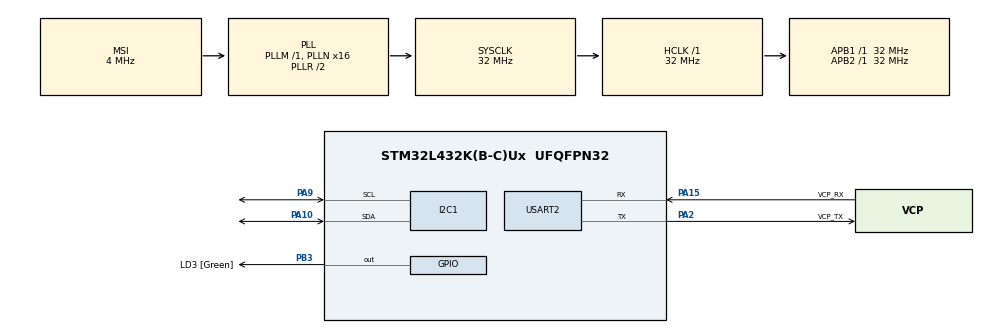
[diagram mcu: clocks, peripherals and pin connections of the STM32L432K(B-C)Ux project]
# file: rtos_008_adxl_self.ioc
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FREERTOS.Queues01=command_queue,16,uint8_t,0,Dynamic,NULL,NULL
FREERTOS.Tasks01=defaultTask,24,128,StartDefaultTask,Default,NULL,Dynamic,NULL,NULL
FREERTOS.configTOTAL_HEAP_SIZE=5120
FREERTOS.configUSE_NEWLIB_REENTRANT=1
I2C1.Timing=0x00707CBB
Mcu.Family=STM32L4
Mcu.Name=STM32L432K(B-C)Ux
Mcu.Package=UFQFPN32
NVIC.PriorityGroup=NVIC_PRIORITYGROUP_4
NVIC.TIM6_DAC_IRQn=true\:15\:0\:false\:false\:true\:false\:false\:true\:true
NVIC.TimeBase=TIM6_DAC_IRQn
NVIC.TimeBaseIP=TIM6
NVIC.USART2_IRQn=true\:6\:0\:true\:false\:true\:true\:true\:true\:true
PA10.Mode=I2C
PA10.Signal=I2C1_SDA
PA13\ (JTMS-SWDIO).GPIO_Label=SWDIO
PA13\ (JTMS-SWDIO).Mode=Serial_Wire
PA13\ (JTMS-SWDIO).Signal=SYS_JTMS-SWDIO
PA14\ (JTCK-SWCLK).GPIO_Label=SWCLK
PA14\ (JTCK-SWCLK).Mode=Serial_Wire
PA14\ (JTCK-SWCLK).Signal=SYS_JTCK-SWCLK
PA15\ (JTDI).GPIO_Label=VCP_RX
PA15\ (JTDI).Mode=Asynchronous
PA15\ (JTDI).Signal=USART2_RX
PA2.GPIO_Label=VCP_TX
PA2.Mode=Asynchronous
PA2.Signal=USART2_TX
PA9.Mode=I2C
PA9.Signal=I2C1_SCL
PB3\ (JTDO-TRACESWO).GPIO_Label=LD3 [Green]
PB3\ (JTDO-TRACESWO).Signal=GPIO_Output
ProjectManager.HeapSize=0x200
ProjectManager.StackSize=0x400
ProjectManager.TargetToolchain=STM32CubeIDE
RCC.AHBFreq_Value=32000000
RCC.APB1Freq_Value=32000000
RCC.APB1TimFreq_Value=32000000
RCC.APB2Freq_Value=32000000
RCC.APB2TimFreq_Value=32000000
RCC.CortexFreq_Value=32000000
RCC.HCLKFreq_Value=32000000
RCC.HSE_VALUE=8000000
RCC.HSI16_VALUE=16000000
RCC.HSI48_VALUE=48000000
RCC.HSI_VALUE=16000000
RCC.LSE_VALUE=32768
RCC.MSI_VALUE=4000000
RCC.PLLMUL=RCC_PLLMUL_4
RCC.PLLN=16
RCC.SYSCLKFreq_VALUE=32000000
RCC.SYSCLKSource=RCC_SYSCLKSOURCE_PLLCLK
RCC.VCOOutputFreq_Value=64000000
USART2.VirtualMode-Asynchronous=VM_ASYNC
VP_FREERTOS_VS_CMSIS_V2.Mode=CMSIS_V2
VP_SYS_VS_tim6.Mode=TIM6
board=NUCLEO-L432KC

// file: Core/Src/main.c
/* USER CODE BEGIN Header */
/**
  ******************************************************************************
  * @file           : main.c
  * @brief          : Main program body
  ******************************************************************************
  * @attention
  *
  * Copyright (c) 2025 STMicroelectronics.
  * All rights reserved.
  *
  * This software is licensed under terms that can be found in the LICENSE file
  * in the root directory of this software component.
  * If no LICENSE file comes with this software, it is provided AS-IS.
  *
  ******************************************************************************
  */
/* USER CODE END Header */
#include "main.h"
#include "cmsis_os.h"

/* USER CODE BEGIN Includes */
#include"adxl345_driver.h"
#include"stdbool.h"
#include"string.h"
#include"stdio.h"
/* USER CODE END Includes */

/* USER CODE BEGIN PTD */
 static volatile bool gStopflag=1;
/* USER CODE END PTD */

I2C_HandleTypeDef hi2c1;

UART_HandleTypeDef huart2;

/* Definitions for defaultTask */
osThreadId_t defaultTaskHandle;
const osThreadAttr_t defaultTask_attributes = {
  .name = "defaultTask",
  .stack_size = 128 * 4,
  .priority = (osPriority_t) osPriorityNormal,
};
/* Definitions for command_queue */
osMessageQueueId_t command_queueHandle;
const osMessageQueueAttr_t command_queue_attributes = {
  .name = "command_queue"
};

void SystemClock_Config(void);
static void MX_GPIO_Init(void);
static void MX_USART2_UART_Init(void);
static void MX_I2C1_Init(void);
void StartDefaultTask(void *argument);

/* USER CODE BEGIN PFP */
void command_task(void* para);
void sensor_task(void* para);

uint8_t isrBuff[40]={0};
volatile uint8_t gRxData = 0;
static volatile uint8_t gRxBuffer[15];

TaskHandle_t command_task_handle;
TaskHandle_t sensor_task_handle;
/* USER CODE END PFP */

/* USER CODE BEGIN 0 */
#ifdef __GNUC__
/* With GCC/RAISONANCE, small printf (option LD Linker->Libraries->Small printf
   set to 'Yes') calls __io_putchar() */
#define PUTCHAR_PROTOTYPE int __io_putchar(int ch)
#else
#define PUTCHAR_PROTOTYPE int fputc(int ch, FILE *f)
#endif /* _GNUC_ */

PUTCHAR_PROTOTYPE {
  /* Place your implementation of fputc here */
  /* e.g. write a character to the USART2 and Loop until the end of transmission */
  HAL_UART_Transmit(&huart2, (uint8_t *)&ch, 1, 0xFFFF);
  return ch;
}

static void notifyCommandTask(void)
{
	BaseType_t pxHigherPriorityTaskWoken = pdFAIL;
	xTaskNotifyFromISR(command_task_handle, 0, eNoAction, &pxHigherPriorityTaskWoken);
	portYIELD_FROM_ISR(pxHigherPriorityTaskWoken);  // requesting context switching manually
}

uint8_t enqueueDataFromIsr() {
  osStatus_t status = 0;
  status = osMessageQueuePut(command_queueHandle, (void *)&gRxData, 1, 0);
  if (status == osOK) {
    return 1;
  }
  return 0;
}

void HAL_UART_RxCpltCallback(UART_HandleTypeDef *huart) {
  UNUSED(huart);
  static int index=0;
  if(osMessageQueueGetSpace(command_queueHandle)!=0)
  {
	  if(index==0 && gRxData =='\n' )
	  {

	  }
	  else
	  {
		  enqueueDataFromIsr();
		  isrBuff[index]=gRxData;// for test
		  index++;// for test
	  }

  }
  else
  {
	  if(gRxData=='\n')
	  {
		    isrBuff[index]=gRxData;// for test

		  index=0;
		  uint8_t dummydata = 0;
		  osMessageQueueGet(command_queueHandle, (void *)&dummydata, NULL, 0);   // deleting last data
		  enqueueDataFromIsr();
	  }
  }
  if(gRxData=='\n')
  {
	  index=0;//test
	  isrBuff[index]=gRxData;// for test
	  enqueueDataFromIsr();// this is not required
	  memset(&isrBuff,0,sizeof(isrBuff));// test
	  notifyCommandTask();
  }
  HAL_UART_Receive_IT(&huart2, &gRxData,1);
}
/* USER CODE END 0 */

int main(void)
{
  /* USER CODE BEGIN 1 */
	BaseType_t status;
  /* USER CODE END 1 */

  /* MCU Configuration--------------------------------------------------------*/

  /* Reset of all peripherals, Initializes the Flash interface and the Systick. */
  HAL_Init();

  /* Configure the system clock */
  SystemClock_Config();

  /* Initialize all configured peripherals */
  MX_GPIO_Init();
  MX_USART2_UART_Init();
  MX_I2C1_Init();
  /* USER CODE BEGIN 2 */
  bool status1 =adxl_app_StreamModeInit();
	adxl_app_calculate_offsets();
	if (status1)
		while (1)
			;

	  printf("stream mode init successful \r\n");

  /* USER CODE END 2 */

  /* Init scheduler */
//  osKernelInitialize();

  /* Create the queue(s) */
  /* creation of command_queue */
  command_queueHandle = osMessageQueueNew (16, sizeof(uint8_t), &command_queue_attributes);

  /* Create the thread(s) */
  /* creation of defaultTask */
//  defaultTaskHandle = osThreadNew(StartDefaultTask, NULL, &defaultTask_attributes);

  /* USER CODE BEGIN RTOS_THREADS */
  /* add threads, ... */
  status=xTaskCreate(command_task, "command", 200, NULL,1,&command_task_handle);
  configASSERT(status==pdPASS);
  status=xTaskCreate(sensor_task, "sensor", 200, NULL,1,&sensor_task_handle);
  configASSERT(status==pdPASS);

  printf("Task creation complete successful \r\n");
  HAL_UART_Receive_IT(&huart2, &gRxData, 1);
  vTaskStartScheduler();

  /* USER CODE END RTOS_THREADS */

  /* Start scheduler */
//  osKernelStart();
  /* We should never get here as control is now taken by the scheduler */
  /* Infinite loop */
  /* USER CODE BEGIN WHILE */

  /* USER CODE END 2 */

  /* Init scheduler */
//  osKernelInitialize();

  /* USER CODE BEGIN RTOS_MUTEX */
  /* add mutexes, ... */
  /* USER CODE END RTOS_MUTEX */

  /* USER CODE BEGIN RTOS_SEMAPHORES */
  /* add semaphores, ... */
  /* USER CODE END RTOS_SEMAPHORES */

  /* USER CODE BEGIN RTOS_TIMERS */
  /* start timers, add new ones, ... */
  /* USER CODE END RTOS_TIMERS */

  /* Create the queue(s) */
  /* creation of command_queue */
  command_queueHandle = osMessageQueueNew (16, sizeof(uint8_t), &command_queue_attributes);

  /* USER CODE BEGIN RTOS_QUEUES */
  /* add queues, ... */
  /* USER CODE END RTOS_QUEUES */

  /* Create the thread(s) */
  /* creation of defaultTask */
//  defaultTaskHandle = osThreadNew(StartDefaultTask, NULL, &defaultTask_attributes);

  /* USER CODE BEGIN RTOS_THREADS */
  /* add threads, ... */
  status=xTaskCreate(command_task, "command", 200, NULL,1,&command_task_handle);
  configASSERT(status==pdPASS);
  status=xTaskCreate(sensor_task, "sensor", 200, NULL,1,&sensor_task_handle);
  configASSERT(status==pdPASS);

  printf("Task creation complete successful \r\n");
  vTaskStartScheduler();

  /* USER CODE END RTOS_THREADS */

  /* USER CODE BEGIN RTOS_EVENTS */
  /* add events, ... */
  /* USER CODE END RTOS_EVENTS */

  /* Start scheduler */
//  osKernelStart();
  /* We should never get here as control is now taken by the scheduler */
  /* Infinite loop */
  /* USER CODE BEGIN WHILE */
  while (1)
  {
    /* USER CODE END WHILE */

  }
}

void SystemClock_Config(void)
{
  RCC_OscInitTypeDef RCC_OscInitStruct = {0};
  RCC_ClkInitTypeDef RCC_ClkInitStruct = {0};

  /** Configure the main internal regulator output voltage
  */
  if (HAL_PWREx_ControlVoltageScaling(PWR_REGULATOR_VOLTAGE_SCALE1) != HAL_OK)
  {
    Error_Handler();
  }

  /** Initializes the RCC Oscillators according to the specified parameters
  * in the RCC_OscInitTypeDef structure.
  */
  RCC_OscInitStruct.OscillatorType = RCC_OSCILLATORTYPE_MSI;
  RCC_OscInitStruct.MSIState = RCC_MSI_ON;
  RCC_OscInitStruct.MSICalibrationValue = 0;
  RCC_OscInitStruct.MSIClockRange = RCC_MSIRANGE_6;
  RCC_OscInitStruct.PLL.PLLState = RCC_PLL_ON;
  RCC_OscInitStruct.PLL.PLLSource = RCC_PLLSOURCE_MSI;
  RCC_OscInitStruct.PLL.PLLM = 1;
  RCC_OscInitStruct.PLL.PLLN = 16;
  RCC_OscInitStruct.PLL.PLLP = RCC_PLLP_DIV7;
  RCC_OscInitStruct.PLL.PLLQ = RCC_PLLQ_DIV2;
  RCC_OscInitStruct.PLL.PLLR = RCC_PLLR_DIV2;
  if (HAL_RCC_OscConfig(&RCC_OscInitStruct) != HAL_OK)
  {
    Error_Handler();
  }

  /** Initializes the CPU, AHB and APB buses clocks
  */
  RCC_ClkInitStruct.ClockType = RCC_CLOCKTYPE_HCLK|RCC_CLOCKTYPE_SYSCLK
                              |RCC_CLOCKTYPE_PCLK1|RCC_CLOCKTYPE_PCLK2;
  RCC_ClkInitStruct.SYSCLKSource = RCC_SYSCLKSOURCE_PLLCLK;
  RCC_ClkInitStruct.AHBCLKDivider = RCC_SYSCLK_DIV1;
  RCC_ClkInitStruct.APB1CLKDivider = RCC_HCLK_DIV1;
  RCC_ClkInitStruct.APB2CLKDivider = RCC_HCLK_DIV1;

  if (HAL_RCC_ClockConfig(&RCC_ClkInitStruct, FLASH_LATENCY_1) != HAL_OK)
  {
    Error_Handler();
  }
}

static void MX_I2C1_Init(void)
{

  hi2c1.Instance = I2C1;
  hi2c1.Init.Timing = 0x00707CBB;
  hi2c1.Init.OwnAddress1 = 0;
  hi2c1.Init.AddressingMode = I2C_ADDRESSINGMODE_7BIT;
  hi2c1.Init.DualAddressMode = I2C_DUALADDRESS_DISABLE;
  hi2c1.Init.OwnAddress2 = 0;
  hi2c1.Init.OwnAddress2Masks = I2C_OA2_NOMASK;
  hi2c1.Init.GeneralCallMode = I2C_GENERALCALL_DISABLE;
  hi2c1.Init.NoStretchMode = I2C_NOSTRETCH_DISABLE;
  if (HAL_I2C_Init(&hi2c1) != HAL_OK)
  {
    Error_Handler();
  }

  /** Configure Analogue filter
  */
  if (HAL_I2CEx_ConfigAnalogFilter(&hi2c1, I2C_ANALOGFILTER_ENABLE) != HAL_OK)
  {
    Error_Handler();
  }

  /** Configure Digital filter
  */
  if (HAL_I2CEx_ConfigDigitalFilter(&hi2c1, 0) != HAL_OK)
  {
    Error_Handler();
  }

}

static void MX_USART2_UART_Init(void)
{

  huart2.Instance = USART2;
  huart2.Init.BaudRate = 115200;
  huart2.Init.WordLength = UART_WORDLENGTH_8B;
  huart2.Init.StopBits = UART_STOPBITS_1;
  huart2.Init.Parity = UART_PARITY_NONE;
  huart2.Init.Mode = UART_MODE_TX_RX;
  huart2.Init.HwFlowCtl = UART_HWCONTROL_NONE;
  huart2.Init.OverSampling = UART_OVERSAMPLING_16;
  huart2.Init.OneBitSampling = UART_ONE_BIT_SAMPLE_DISABLE;
  huart2.AdvancedInit.AdvFeatureInit = UART_ADVFEATURE_NO_INIT;
  if (HAL_UART_Init(&huart2) != HAL_OK)
  {
    Error_Handler();
  }

}

static void MX_GPIO_Init(void)
{
  GPIO_InitTypeDef GPIO_InitStruct = {0};

  /* GPIO Ports Clock Enable */
  __HAL_RCC_GPIOA_CLK_ENABLE();
  __HAL_RCC_GPIOB_CLK_ENABLE();

  /*Configure GPIO pin Output Level */
  HAL_GPIO_WritePin(LD3_GPIO_Port, LD3_Pin, GPIO_PIN_RESET);

  /*Configure GPIO pin : LD3_Pin */
  GPIO_InitStruct.Pin = LD3_Pin;
  GPIO_InitStruct.Mode = GPIO_MODE_OUTPUT_PP;
  GPIO_InitStruct.Pull = GPIO_NOPULL;
  GPIO_InitStruct.Speed = GPIO_SPEED_FREQ_LOW;
  HAL_GPIO_Init(LD3_GPIO_Port, &GPIO_InitStruct);

}

/* USER CODE BEGIN 4 */

static uint8_t extractCommandFromQueue(char * buff)
{
    char dummyBuff[20] = {0};
    uint8_t index = 0;
    uint8_t item;
    while (index < sizeof(dummyBuff) - 1) // Prevent buffer overflow
    {
        if (osMessageQueueGet(command_queueHandle, &item, NULL, portMAX_DELAY) == osOK)
        {
            dummyBuff[index] = item;
            if (item == '\n')
            {
                break;
            }
            index++;
        }
        else
        {
            // Queue is empty or error, handle accordingly
            break;
        }
    }
    dummyBuff[index] = '\0'; // Null-terminate the received command
	memcpy(buff,dummyBuff,strlen(dummyBuff)+1);
	osMessageQueueReset(command_queueHandle);//clearing the queue after extracting the cmd

    return 1; // Or some status indication
}
/*
// good
//pair 1: command task
void command_task(void* para)
{
	 char responseBuff[30]={0};
	 const char * menu ="====================================================\r\n"
			            "|                      Accelerometer Data            |\r\n"
			            "====================================================\r\n"
			            "Enter [start] to view data  \r\n"
			            "Enter [stop]  to stop viewing data \r\n"
			            "Enter your choice here : \r\n";

	 // send the data using print queue
    printf("%s \r\n",menu);
	while(1)
	{
		xTaskNotifyWait(0, 0,NULL,portMAX_DELAY);// wait for the user to enter option
		memset(responseBuff,0,sizeof(responseBuff));
		extractCommandFromQueue(responseBuff);
//        printf("Received command: [%s]\r\n", responseBuff); // For debugging

//		if(strcmp(responseBuff,"start")==0)
        if(strstr(responseBuff,"start")!=NULL)
		{
			gStopflag=0;
			// start showing data and wait until user input any data
			xTaskNotify(sensor_task_handle,0,eNoAction);// after notifying the sensor_task() it again wait for the user notificatio(i/p)n
		}
		else if(strstr(responseBuff,"stop")!=NULL)
		{
			if(gStopflag==1)
			{
				printf("Accelerometer is already in stop state \r\n");
			}
			else
			{
				gStopflag=1;
			}
			printf("%s", menu); // Print the menu again after stopping
		}
		else
		{
			if(responseBuff[0]!='\0') // this is because we were doing memset to 0 whose ascii is '\0', so it was considered as an invalid response
			{
				printf("Invalid command. Please enter 'start' or 'stop'  .\r\n");
				printf("%s", menu); // Print the menu again after stopping
			}
		}

	}

}

*/

// pair 1 : sensor task
/*void sensor_task(void* para)
{
	while(1)
	{
	    xTaskNotifyWait(0, 0,NULL,portMAX_DELAY);// wait for the command task to notify
		while(gStopflag != 1)
		        {
		            adxl_app_Printdata();
		            osDelay(pdMS_TO_TICKS(1000)); // Add a small delay for readability
		        }

	}

}
// in the above task , if you look carefully , the task gets notified only once , and n the basis of the gStopflag, it either prints
//data or doesn't , but it doesn't goes to blocked state ( hence CPU cycle wasted) Below is the better solution .
*/
// better :

// pair 2 command task

void command_task(void* para)
{
	 char responseBuff[30]={0};
	 const char * menu ="====================================================\r\n"
			            "|                      Accelerometer Data            |\r\n"
			            "====================================================\r\n"
			            "Enter [start] to view data  \r\n"
			            "Enter [stop]  to stop viewing data \r\n"
			            "Enter your choice here : \r\n";

	 // send the data using print queue
    printf("%s \r\n",menu);
	while(1)
	{
		xTaskNotifyWait(0, 0,NULL,portMAX_DELAY);// wait for the user to enter option
		memset(responseBuff,0,sizeof(responseBuff));
		extractCommandFromQueue(responseBuff);
//        printf("Received command: [%s]\r\n", responseBuff); // For debugging

//		if(strcmp(responseBuff,"start")==0)
        if(strstr(responseBuff,"start")!=NULL)
		{
			gStopflag=0;
			// start showing data and wait until user input any data
			xTaskNotify(sensor_task_handle,0,eNoAction);// after notifying the sensor_task() it again wait for the user notificatio(i/p)n
		}
		else if(strstr(responseBuff,"stop")!=NULL)
		{
			if(gStopflag==1)
			{
				printf("Accelerometer is already in stop state \r\n");
			}
			else
			{
				xTaskNotify(sensor_task_handle,0,eNoAction);// after notifying the sensor_task() it again wait for the user notificatio(i/p)n
				gStopflag=1;
			}
			printf("%s", menu); // Print the menu again after stopping
		}
		else
		{
			if(responseBuff[0]!='\0') // this is because we were doing memset to 0 whose ascii is '\0', so it was considered as an invalid response
			{
				printf("Invalid command. Please enter 'start' or 'stop'  .\r\n");
				printf("%s", menu); // Print the menu again after stopping
			}
		}

	}

}
void sensor_task(void* para)
{
    for (;;)
    {
        // Block until "start" command arrives
        xTaskNotifyWait(0, 0, NULL, portMAX_DELAY);

        // Now stream data until "stop" arrives
        while (1)
        {
            adxl_app_Printdata();
            vTaskDelay(pdMS_TO_TICKS(1000));

            // Non-blocking check for stop notification
            if (xTaskNotifyWait(0, 0, NULL, 0) == pdPASS)
            {
                break;  // Stop received → go back to blocked state
            }
        }
    }
}

/* USER CODE END 4 */

void StartDefaultTask(void *argument)
{
  for(;;)
  {
    osDelay(1);
  }
}

void HAL_TIM_PeriodElapsedCallback(TIM_HandleTypeDef *htim)
{
  if (htim->Instance == TIM6) {
    HAL_IncTick();
  }
}

void Error_Handler(void)
{
  __disable_irq();
  while (1)
  {
  }
}
